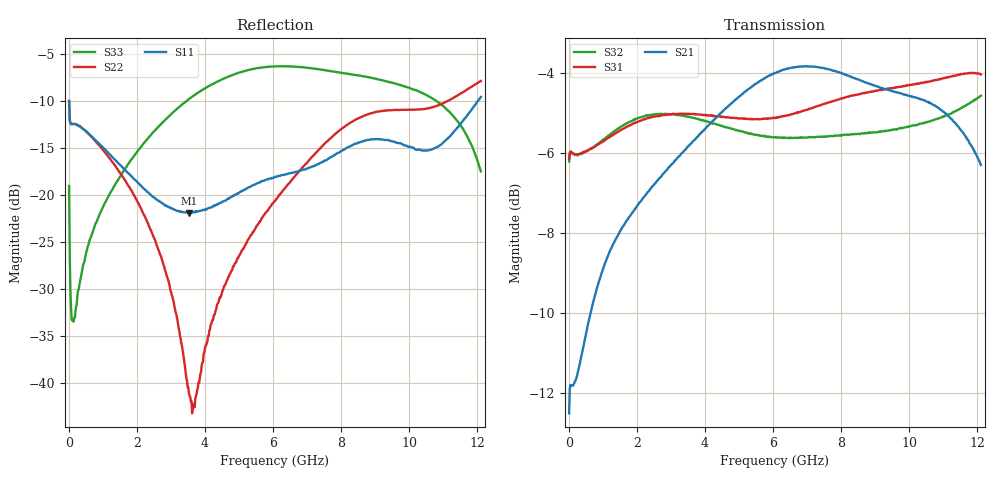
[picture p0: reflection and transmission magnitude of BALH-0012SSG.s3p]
! MARKI MICROWAVE INC.
! Email:  info@markimicrowave.com  Phone:  408-778-4200
! Model Number:  BALH-0012SSG  Date:  06/20
! Filename:		BALH-0012SSG.S3P  Version: 1.0
! Description:  3-port S-parameter data for Balun BAL-0012SMG
! Frequency Range: 	10 MHz to 12 GHz
! Port Configuration:	PORT 1: OUTPUT(0 DEGREE) , PORT 2: OUTPUT (180 DEGREE), PORT 3: COMMON
! S3P File: Measurements: Mag<S11> Ang<S11> Mag<S12> Ang<S12> Mag<S13> Ang<S13>! row 1
!  Mag<S21> Ang<S21> Mag<S22> Ang<S22> Mag<S23> Ang<S23>! row 2
!  Mag<S31> Ang<S31> Mag<S32> Ang<S32> Mag<S33> Ang<S33>! row 3
# Hz S  dB  R 50
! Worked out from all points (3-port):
!   647 points, 10 MHz to 12.11 GHz, reference 50 ohm
!   strongest paths, dB at 10 MHz, 3.027 GHz, 6.062 GHz, 9.098 GHz, 12.11 GHz:
!     S21: -12.5, -6.3, -4.0, -4.3, -6.3
!     S31: -6.1, -5.0, -5.1, -4.4, -4.0
!     S32: -6.2, -5.0, -5.6, -5.5, -4.6
!   lowest |S11| = -21.9 dB at 3.533 GHz (marker M1), VSWR 1.17, Z = 44.3 + j5.03 ohm
!   |S11| at or under -10 dB: start of sweep to 12.02 GHz
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1e7  -10.03 154.2  -12.58 18.6  -6.12 -174.3
     -12.51 18.5  -9.98 154.9  -6.21 6.0
     -6.14 -174.3  -6.21 5.8  -19.04 99.5
1.411625e8  -12.44 159.1  -11.78 -3.5  -6.01 169.5
            -11.78 -3.5  -12.43 160.7  -6.02 -10.2
            -6.01 169.5  -6.02 -10.2  -33.50 47.6
2.221025e9  -19.38 -79.7  -7.08 -142.3  -5.14 6.5
            -7.09 -142.4  -22.20 -49.2  -5.07 -169.7
            -5.15 6.5  -5.08 -169.7  -14.40 165.5
3.53265e9  -21.93 135.3  -5.81 120.8  -5.01 -99.5
           -5.81 120.9  -41.10 158.9  -5.08 85.2
           -5.02 -99.4  -5.09 85.2  -9.79 40.8
4.675638e9  -20.40 22.8  -4.83 34.4  -5.10 169.9
            -4.84 34.4  -28.91 -13.5  -5.36 -5.1
            -5.10 169.9  -5.36 -5.1  -7.43 -52.9
6.062212e9  -18.10 -86.3  -3.98 -73.8  -5.11 62.4
            -3.99 -73.8  -20.62 -91.2  -5.60 -112.9
            -5.13 62.4  -5.61 -112.9  -6.31 -156.6
7.298888e9  -16.76 -159.8  -3.84 -171.8  -4.82 -33.0
            -3.85 -171.8  -15.38 -159.5  -5.59 150.5
            -4.83 -33.0  -5.59 150.6  -6.59 117.7
8.423138e9  -14.55 132.2  -4.13 100.2  -4.54 -121.1
            -4.13 100.1  -12.01 127.8  -5.52 61.6
            -4.55 -121.0  -5.52 61.7  -7.23 39.8
1.031562e10  -15.17 -33.8  -4.64 -46.8  -4.25 90.0
             -4.65 -46.9  -10.88 -32.7  -5.27 -89.4
             -4.25 90.0  -5.26 -89.4  -9.02 -115.0
1.211442e10  -9.57 136.1  -6.29 167.0  -4.02 -57.1
             -6.29 167.0  -7.86 153.5  -4.56 123.7
             -4.03 -57.1  -4.56 123.7  -17.50 62.4
